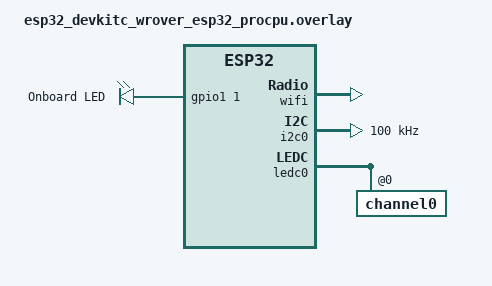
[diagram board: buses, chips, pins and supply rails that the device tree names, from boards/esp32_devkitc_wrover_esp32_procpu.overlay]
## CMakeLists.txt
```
cmake_minimum_required(VERSION 3.20.0)

find_package(Zephyr REQUIRED HINTS $ENV{ZEPHYR_BASE})
project(espcam)

target_sources(app PRIVATE
    src/main.c
    src/wifi_manager.c
    src/frame_source.c
    src/http_server.c
    src/http_api.c
    src/stream_handler.c
    src/camera_init.c
    src/camera_config.c
    src/camera_sccb.c
    src/cam_i2s_capture.c
    src/cam_i2s_hw.c
    src/cam_jpeg_fixup.c
    src/led_control.c
    src/ws_protocol.c
)
```

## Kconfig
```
# Application-specific Kconfig symbols

menu "ESP-CAM Application"

config APP_WIFI_SSID
	string "WiFi SSID"
	default ""
	help
	  WiFi network SSID to connect to.
	  Inject at build time via overlay conf or -DCONFIG_APP_WIFI_SSID="..."
	  Do NOT hardcode real credentials in prj.conf.

config APP_WIFI_PASSWORD
	string "WiFi Password"
	default ""
	help
	  WiFi network password.
	  Inject at build time via overlay conf or provision script.
	  Do NOT hardcode real credentials in prj.conf.

config APP_WIFI_CONNECT_TIMEOUT_S
	int "WiFi connection timeout in seconds"
	default 30
	help
	  Maximum time to wait for WiFi connection before retrying.

endmenu

source "Kconfig.zephyr"
```

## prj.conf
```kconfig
# Autopilot ESP32-CAM Zephyr — Project Configuration

# Core
CONFIG_GPIO=y
CONFIG_LOG=y
CONFIG_LOG_MODE_DEFERRED=y
CONFIG_LOG_BUFFER_SIZE=4096
CONFIG_PRINTK=y
CONFIG_MAIN_STACK_SIZE=8192

# PSRAM (8MB on ESP32-WROVER-E-N8R8)
CONFIG_ESP_SPIRAM=y
CONFIG_ESP_SPIRAM_HEAP_SIZE=3145728

# Heap (WiFi needs ~110KB; reduced from 128KB for DRAM headroom)
CONFIG_HEAP_MEM_POOL_SIZE=114688

# WiFi
CONFIG_WIFI=y
CONFIG_WIFI_ESP32=y
CONFIG_ESP32_WIFI_STA_AUTO_DHCPV4=y
CONFIG_ESP32_WIFI_STA_RECONNECT=y
CONFIG_ESP32_WIFI_NET_ALLOC_SPIRAM=y

# Networking
CONFIG_NETWORKING=y
CONFIG_NET_L2_ETHERNET=y
CONFIG_NET_IPV4=y
CONFIG_NET_IPV6=n
CONFIG_NET_DHCPV4=y
CONFIG_NET_LOG=y

# TCP / Sockets
CONFIG_NET_TCP=y
CONFIG_NET_SOCKETS=y
CONFIG_NET_MAX_CONN=8
CONFIG_NET_MAX_CONTEXTS=10
CONFIG_NET_TCP_TIME_WAIT_DELAY=0
CONFIG_NET_TCP_RETRY_COUNT=2
CONFIG_ZVFS_OPEN_MAX=16

# Network buffers
CONFIG_NET_PKT_RX_COUNT=16
CONFIG_NET_PKT_TX_COUNT=16
CONFIG_NET_BUF_RX_COUNT=32
CONFIG_NET_BUF_TX_COUNT=32
CONFIG_NET_BUF_DATA_SIZE=256

# ARP table — default 2 is too small for a busy LAN (20+ devices here)
CONFIG_NET_ARP_TABLE_SIZE=8

# Network management events
CONFIG_NET_MGMT_EVENT=y
CONFIG_NET_MGMT_EVENT_INFO=y
CONFIG_NET_MGMT_EVENT_QUEUE_SIZE=10
CONFIG_NET_MGMT_EVENT_STACK_SIZE=2048

# WiFi credentials — injected at build time via overlay conf
# Do NOT put real passwords here!
CONFIG_APP_WIFI_SSID=""
CONFIG_APP_WIFI_PASSWORD=""

# I2C (OV2640 SCCB)
CONFIG_I2C=y

# PWM (LEDC for OV2640 XCLK)
CONFIG_PWM=y

# WebSocket handshake support
# WebSocket support
CONFIG_BASE64=y

# Watchdog timer
CONFIG_WATCHDOG=y

# System heap runtime stats (for /api/status memory reporting)
CONFIG_SYS_HEAP_RUNTIME_STATS=y
```

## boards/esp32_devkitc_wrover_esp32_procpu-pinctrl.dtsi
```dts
/*
 * Pinctrl overlay for YD-ESP32-CAM (VCC-GND Studio)
 *
 * I2C0:  SDA=GPIO26, SCL=GPIO27  (OV2640 SCCB)
 * LEDC:  CH0=GPIO0               (OV2640 XCLK)
 */

#include <zephyr/dt-bindings/pinctrl/esp-pinctrl-common.h>
#include <dt-bindings/pinctrl/esp32-pinctrl.h>
#include <zephyr/dt-bindings/pinctrl/esp32-gpio-sigmap.h>

&pinctrl {

	i2c0_default: i2c0_default {
		group1 {
			pinmux = <I2C0_SDA_GPIO26>,
				 <I2C0_SCL_GPIO27>;
			bias-pull-up;
			drive-open-drain;
			output-high;
		};
	};

	ledc0_default: ledc0_default {
		group1 {
			pinmux = <LEDC_CH0_GPIO0>;
			output-enable;
		};
	};
};
```

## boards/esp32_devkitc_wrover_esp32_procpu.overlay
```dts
/*
 * DTS overlay for YD-ESP32-CAM (VCC-GND Studio)
 * Base board: esp32_devkitc_wrover
 * Module: ESP32-WROVER-E-N8R8 (8MB Flash, 8MB PSRAM)
 *
 * Peripherals:
 *   - Onboard LED on GPIO33
 *   - WiFi
 *   - I2C0 for OV2640 SCCB (SDA=GPIO26, SCL=GPIO27)
 *   - LEDC PWM for OV2640 XCLK (GPIO0, 20MHz)
 *   - Camera PWDN on GPIO32
 */

#include "esp32_devkitc_wrover_esp32_procpu-pinctrl.dtsi"

/ {
	leds {
		compatible = "gpio-leds";
		led0: led_0 {
			gpios = <&gpio1 1 GPIO_ACTIVE_HIGH>;
			label = "Onboard LED";
		};
	};

	aliases {
		led0 = &led0;
	};
};

&wifi {
	status = "okay";
};

/* I2C0 for OV2640 SCCB (SDA=GPIO26, SCL=GPIO27) */
&i2c0 {
	status = "okay";
	clock-frequency = <I2C_BITRATE_STANDARD>;
	pinctrl-0 = <&i2c0_default>;
	pinctrl-names = "default";
};

/* LEDC for OV2640 XCLK generation on GPIO0 */
&ledc0 {
	status = "okay";
	pinctrl-0 = <&ledc0_default>;
	pinctrl-names = "default";
	#address-cells = <1>;
	#size-cells = <0>;
	channel0@0 {
		reg = <0x0>;
		timer = <0>;
	};
};
```

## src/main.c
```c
/*
 * Autopilot ESP32-CAM — Main Application
 *
 * LED status indicator:
 *   Slow blink (1s)  = WiFi connecting
 *   Solid on         = WiFi connected
 *   Fast blink (200ms) = Error
 */

#include <zephyr/kernel.h>
#include <zephyr/logging/log.h>
#include <zephyr/drivers/watchdog.h>

#include "wifi_manager.h"
#include "frame_source.h"
#include "http_server.h"
#include "camera_init.h"
#include "cam_i2s_capture.h"
#include "led_control.h"

LOG_MODULE_REGISTER(main, LOG_LEVEL_INF);

#define HTTP_PORT 80
#define WDT_TIMEOUT_MS 30000
#define APP_VERSION "1.0.0"

int main(void)
{
	int ret;

	LOG_INF("Autopilot ESP32-CAM v%s starting...", APP_VERSION);
	LOG_INF("Board: YD-ESP32-CAM (ESP32-WROVER-E-N8R8)");

	ret = led_control_init();
	if (ret < 0) {
		return ret;
	}

	/* Slow blink while connecting */
	LOG_INF("Connecting to WiFi...");
	for (int i = 0; i < 3; i++) {
		led_control_set(true);
		k_msleep(500);
		led_control_set(false);
		k_msleep(500);
	}
	led_control_auto();

	ret = wifi_manager_init();
	if (ret == 0) {
		LOG_INF("WiFi ready — IP: %s", wifi_manager_get_ip());
		led_control_heartbeat(true);
	} else {
		LOG_WRN("WiFi init returned %d, running in degraded mode", ret);
	}

	/* Initialize OV2640 camera (XCLK, PWDN, SCCB probe, JPEG config) */
	ret = camera_init();
	if (ret < 0) {
		LOG_WRN("Camera init failed: %d — streaming test pattern", ret);
	} else {
		LOG_INF("Camera detected: OV2640 (JPEG QVGA)");

		/* Initialize I2S capture driver */
		ret = cam_i2s_init();
		if (ret < 0) {
			LOG_WRN("I2S capture init failed: %d", ret);
		}
	}

	/* Initialize frame source (uses camera if available, else test pattern) */
	ret = frame_source_init();
	if (ret < 0) {
		LOG_ERR("Frame source init failed: %d", ret);
	}

	/* Start HTTP server (binds to INADDR_ANY — works before WiFi is up,
	 * clients can connect once WiFi assigns an IP) */
	ret = http_server_start(HTTP_PORT);
	if (ret < 0) {
		LOG_ERR("HTTP server start failed: %d", ret);
	} else if (wifi_manager_is_connected()) {
		LOG_INF("HTTP server started on http://%s:%d/ (stream port %d)",
			wifi_manager_get_ip(), HTTP_PORT, HTTP_PORT + 1);
	} else {
		LOG_INF("HTTP server started on port %d (waiting for WiFi)",
			HTTP_PORT);
	}

	/* Start hardware watchdog AFTER all init completes */
	const struct device *wdt = DEVICE_DT_GET(DT_ALIAS(watchdog0));
	int wdt_channel_id = -1;

	if (device_is_ready(wdt)) {
		struct wdt_timeout_cfg wdt_config = {
			.window.max = WDT_TIMEOUT_MS,
			.callback = NULL,  /* System reset on timeout */
			.flags = WDT_FLAG_RESET_SOC,
		};

		wdt_channel_id = wdt_install_timeout(wdt, &wdt_config);
		if (wdt_channel_id >= 0) {
			ret = wdt_setup(wdt, WDT_OPT_PAUSE_HALTED_BY_DBG);
			if (ret == 0) {
				LOG_INF("Watchdog started (timeout %d ms)",
					WDT_TIMEOUT_MS);
			} else {
				LOG_WRN("Watchdog setup failed: %d", ret);
				wdt_channel_id = -1;
			}
		} else {
			LOG_WRN("Watchdog install failed: %d", wdt_channel_id);
		}
	} else {
		LOG_WRN("Watchdog device not ready");
	}

	/* Main loop: heartbeat + watchdog feed + status monitoring */
	uint32_t loop_cnt = 0;
	while (1) {
		led_control_heartbeat(wifi_manager_is_connected());

		if (wdt_channel_id >= 0) {
			wdt_feed(wdt, wdt_channel_id);
		}

		/* Periodic status log every ~30s */
		if (++loop_cnt % 6 == 0) {
			int rssi = 0;
			unsigned int channel = 0;
			uint32_t disconnects = 0, reconnects = 0;

			wifi_manager_get_link_info(&rssi, &channel);
			wifi_manager_get_stats(&disconnects, &reconnects);
			LOG_INF("Heartbeat: uptime=%us WiFi=%s rssi=%d ch=%u dc=%u rc=%u",
				(uint32_t)(k_uptime_get() / 1000),
				wifi_manager_is_connected() ? "up" : "DOWN",
				rssi, channel, disconnects, reconnects);
		}

		k_msleep(wifi_manager_is_connected() ? 5000 : 1000);
	}

	return 0;
}
```

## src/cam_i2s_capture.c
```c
/*
 * I2S Camera Capture — Implementation
 *
 * High-level capture API. Delegates hardware management to cam_i2s_hw.
 * Owns the warmup/DQT-extraction state machine and JPEG fixup integration.
 */

#include "cam_i2s_capture.h"
#include "cam_i2s_hw.h"
#include "cam_jpeg_fixup.h"

#include <zephyr/kernel.h>
#include <zephyr/logging/log.h>

LOG_MODULE_REGISTER(cam_i2s, LOG_LEVEL_INF);

#define WARMUP_FRAMES      10
#define STREAM_SKIP_FRAMES 0
#define CAPTURE_TIMEOUT_MS 5000

static bool warmed_up;

/* One-time DQT extraction: run DMA briefly to capture JPEG header tables */
static void extract_dqt_tables(void)
{
	LOG_INF("Extracting DQT tables (pre-capture)...");
	cam_i2s_hw_prepare(999);  /* Don't trigger frame logic */
	cam_i2s_hw_extract_start();
	cam_i2s_hw_dma_start();
	k_msleep(200);  /* ~3 frames at 15fps */
	cam_i2s_hw_stop();

	const uint8_t *buf;
	size_t len;

	cam_i2s_hw_get_frame(&buf, &len);
	if (len > 0) {
		jpeg_extract_and_save_header(buf, len);
	}
}

int cam_i2s_init(void)
{
	LOG_INF("I2S camera capture init");
	return cam_i2s_hw_init();
}

int cam_i2s_capture_frame(const uint8_t **buf, size_t *size)
{
	/* One-time DQT header extraction */
	if (!warmed_up && jpeg_saved_header_len() == 0) {
		extract_dqt_tables();
	}

	int skip = warmed_up ? STREAM_SKIP_FRAMES : WARMUP_FRAMES;

	cam_i2s_hw_prepare(skip);

	if (!warmed_up) {
		LOG_INF("Capturing frame (skipping %d warm-up frames)...",
			skip);
	}

	/* Prime I2S RX for warmup (extract_active=false by default) */
	cam_i2s_hw_dma_start();

	int64_t deadline = k_uptime_get() + CAPTURE_TIMEOUT_MS;

	/* Phase 1: Wait for VSYNC blanking after warmup skips */
	while (!cam_i2s_hw_vsync_blanking() && k_uptime_get() < deadline) {
		k_yield();
	}

	if (!cam_i2s_hw_vsync_blanking()) {
		LOG_WRN("Timeout waiting for VSYNC blanking");
		cam_i2s_hw_stop();
		return -ETIMEDOUT;
	}

	/* Phase 2: Reset DMA during blanking, enable byte extraction */
	cam_i2s_hw_dma_start();
	cam_i2s_hw_extract_start();

	/* Phase 3: Wait for complete frame (next VSYNC rising edge) */
	while (!cam_i2s_hw_frame_done() && k_uptime_get() < deadline) {
		k_yield();
	}

	/* Let ISR drain remaining descriptors */
	k_busy_wait(500);
	cam_i2s_hw_stop();

	/* First-capture diagnostics */
	if (!warmed_up) {
		cam_i2s_hw_log_diagnostics();
	}

	const uint8_t *frame;
	size_t frame_len;

	cam_i2s_hw_get_frame(&frame, &frame_len);
	if (frame_len == 0) {
		LOG_WRN("Frame captured but empty");
		return -ENODATA;
	}

	warmed_up = true;

	return jpeg_fixup_frame((uint8_t *)frame, frame_len,
				cam_i2s_hw_frame_buf_size(), buf, size);
}

void cam_i2s_reset_warmup(void)
{
	cam_i2s_hw_stop();
	warmed_up = false;
	jpeg_reset_header();
	LOG_INF("I2S warmup state reset");
}
```

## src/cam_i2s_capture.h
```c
/*
 * I2S Camera Capture — Header
 *
 * Captures JPEG frames from OV2640 via ESP32 I2S0 in camera mode.
 * Uses SRAM DMA bounce buffers + copy to PSRAM.
 */

#ifndef CAM_I2S_CAPTURE_H
#define CAM_I2S_CAPTURE_H

#include <stdint.h>
#include <stddef.h>

/**
 * Initialize I2S0 in camera mode for DVP capture.
 * Must be called after camera_init() has configured the OV2640.
 * @return 0 on success, negative errno on failure.
 */
int cam_i2s_init(void);

/**
 * Capture a single JPEG frame.
 * Blocks until one complete VSYNC-delimited frame is received.
 * @param buf     Output: pointer to frame data (PSRAM, valid until next capture)
 * @param size    Output: frame size in bytes
 * @return 0 on success, negative errno on failure or timeout.
 */
int cam_i2s_capture_frame(const uint8_t **buf, size_t *size);

/**
 * Reset warmup state (call after resolution/quality change).
 * Forces re-extraction of JPEG header on next capture.
 */
void cam_i2s_reset_warmup(void);

#endif /* CAM_I2S_CAPTURE_H */
```

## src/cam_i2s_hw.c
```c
/*
 * I2S Camera Hardware — Implementation
 *
 * Low-level I2S/DMA hardware management for OV2640 DVP capture.
 * Owns all DMA buffers, ISR handlers, and volatile capture state.
 *
 * Architecture:
 * - I2S0 in LCD/camera slave RX mode
 * - Camera signals (D0-D7, VSYNC, HREF, PCLK) routed via GPIO matrix
 * - DMA ring of SRAM bounce buffers (ESP32 cannot DMA to PSRAM)
 * - VSYNC GPIO interrupt for frame boundary detection
 * - DMA in_suc_eof interrupt to copy data incrementally to frame buffer
 * - Byte filtering: each 32-bit DMA word yields 1 JPEG byte (sample1, bits 23:16)
 *
 * Camera pin mapping (YD-ESP32-CAM / AI-Thinker compatible):
 *   D0=GPIO5, D1=GPIO18, D2=GPIO19, D3=GPIO21,
 *   D4=GPIO36, D5=GPIO39, D6=GPIO34, D7=GPIO35
 *   VSYNC=GPIO25, HREF=GPIO23, PCLK=GPIO22
 */

#include "cam_i2s_hw.h"

#include <zephyr/kernel.h>
#include <zephyr/logging/log.h>
#include <zephyr/drivers/gpio.h>
#include <string.h>

#include <soc/i2s_struct.h>
#include <soc/i2s_reg.h>
#include <soc/gpio_sig_map.h>
#include <soc/gpio_pins.h>
#include <soc/periph_defs.h>
#include <soc/soc.h>
#include <esp_rom_gpio.h>
#include <esp_rom_lldesc.h>
#include <hal/gpio_ll.h>
#include <esp_private/periph_ctrl.h>
#include <esp_intr_alloc.h>

LOG_MODULE_REGISTER(cam_i2s_hw, LOG_LEVEL_INF);

/* Camera data pins (YD-ESP32-CAM) */
static const uint8_t cam_data_pins[8] = {
	5, 18, 19, 21, 36, 39, 34, 35  /* D0..D7 */
};
#define CAM_VSYNC_PIN  25
#define CAM_HREF_PIN   23
#define CAM_PCLK_PIN   22

/* DMA configuration */
#define DMA_BUF_SIZE     1024  /* Must be multiple of 4 */
#define DMA_BUF_COUNT    4
#define DMA_TOTAL_SIZE   (DMA_BUF_SIZE * DMA_BUF_COUNT)

/* Max JPEG frame size after byte extraction (UXGA can reach 200KB+) */
#define FRAME_BUF_SIZE   (384 * 1024)

#define I2S_HW  I2S0

/*
 * DMA element: In camera mode with rx_fifo_mod=1, rx_bits_mod=8,
 * each camera byte is packed into a 32-bit word in SM_0A00_0B00 mode.
 * For JPEG: extract only sample1 (bits 23:16, byte offset 2).
 */
typedef union {
	struct {
		uint8_t sample2;
		uint8_t unused2;
		uint8_t sample1;
		uint8_t unused1;
	};
	uint32_t val;
} dma_elem_t;

/* Static SRAM buffers for DMA (cannot be in PSRAM on ESP32) */
static lldesc_t dma_desc[DMA_BUF_COUNT] __attribute__((aligned(4)));
static uint8_t dma_buf[DMA_BUF_COUNT][DMA_BUF_SIZE]
	__attribute__((aligned(4)));

/* Frame buffer in PSRAM (ext_ram.bss linker section → SPIRAM) */
static uint8_t frame_buf_psram[FRAME_BUF_SIZE]
	__attribute__((section(".ext_ram.bss")));
static uint8_t *frame_buf = frame_buf_psram;
static volatile size_t frame_pos;
static volatile bool frame_done;
static volatile bool vsync_blanking;
static volatile bool capturing;
static volatile int vsync_skip_remaining;
static struct k_sem frame_sem;
static intr_handle_t i2s_intr_handle;

/* Debug counters */
static volatile uint32_t dbg_vsync_count;
static volatile uint32_t dbg_dma_isr_count;
static volatile uint32_t dbg_dma_bytes_total;
static volatile uint32_t dbg_dma_overflow;

/* ISR-driven DMA recycling state */
static volatile int isr_next_desc;
static volatile bool extract_active;

/* Raw DMA debug: first 8 words from capture phase */
static uint32_t raw_debug[8];
static volatile int raw_debug_count;

/* VSYNC GPIO interrupt callback */
static struct gpio_callback vsync_cb_data;

/* ---- ISR handlers ---- */

static void vsync_isr(const struct device *dev, struct gpio_callback *cb,
		      uint32_t pins)
{
	dbg_vsync_count++;

	if (!capturing) {
		return;
	}

	if (vsync_skip_remaining > 0) {
		vsync_skip_remaining--;
		return;
	}

	if (!vsync_blanking) {
		vsync_blanking = true;
		return;
	}

	/* Second rising edge: active frame captured */
	frame_done = true;
}

static void cam_i2s_isr(void *arg)
{
	uint32_t status = I2S_HW.int_st.val;

	I2S_HW.int_clr.val = status;

	if (status & BIT(9)) {
		dbg_dma_isr_count++;
		int idx = isr_next_desc;

		if (dma_desc[idx].owner == 0 && dma_desc[idx].length > 0) {
			if (extract_active && !frame_done &&
			    frame_pos < FRAME_BUF_SIZE) {
				const uint32_t *src =
					(const uint32_t *)dma_desc[idx].buf;
				size_t words = dma_desc[idx].length / 4;

				if (raw_debug_count == 0) {
					int n = words > 8 ? 8 : words;

					for (int d = 0; d < n; d++) {
						raw_debug[d] = src[d];
					}
					raw_debug_count = n;
				}

				for (size_t j = 0;
				     j < words && frame_pos < FRAME_BUF_SIZE;
				     j++) {
					frame_buf[frame_pos++] =
						(src[j] >> 16) & 0xFF;
				}
			}
			dbg_dma_bytes_total += dma_desc[idx].length;

			dma_desc[idx].length = 0;
			dma_desc[idx].owner = 1;
			isr_next_desc = (idx + 1) % DMA_BUF_COUNT;
		}
	}

	if (status & BIT(15)) {
		dbg_dma_overflow++;
	}
}

/* ---- Hardware configuration ---- */

static void configure_gpio(void)
{
	for (int i = 0; i < 8; i++) {
		esp_rom_gpio_pad_select_gpio(cam_data_pins[i]);
		gpio_ll_input_enable(&GPIO, cam_data_pins[i]);
		esp_rom_gpio_connect_in_signal(cam_data_pins[i],
					       I2S0I_DATA_IN0_IDX + i, false);
	}

	esp_rom_gpio_pad_select_gpio(CAM_VSYNC_PIN);
	gpio_ll_input_enable(&GPIO, CAM_VSYNC_PIN);
	esp_rom_gpio_connect_in_signal(CAM_VSYNC_PIN, I2S0I_V_SYNC_IDX,
				       false);

	esp_rom_gpio_connect_in_signal(GPIO_MATRIX_CONST_ONE_INPUT,
				       I2S0I_H_SYNC_IDX, false);

	esp_rom_gpio_pad_select_gpio(CAM_HREF_PIN);
	gpio_ll_input_enable(&GPIO, CAM_HREF_PIN);
	esp_rom_gpio_connect_in_signal(CAM_HREF_PIN, I2S0I_H_ENABLE_IDX,
				       false);

	esp_rom_gpio_pad_select_gpio(CAM_PCLK_PIN);
	gpio_ll_input_enable(&GPIO, CAM_PCLK_PIN);
	esp_rom_gpio_connect_in_signal(CAM_PCLK_PIN, I2S0I_WS_IN_IDX, false);

	LOG_INF("Camera GPIO matrix configured");
}

static void setup_dma(void)
{
	for (int i = 0; i < DMA_BUF_COUNT; i++) {
		dma_desc[i].size = DMA_BUF_SIZE;
		dma_desc[i].length = 0;
		dma_desc[i].buf = dma_buf[i];
		dma_desc[i].owner = 1;
		dma_desc[i].eof = 0;
		dma_desc[i].sosf = 0;
		dma_desc[i].offset = 0;
		dma_desc[i].empty =
			(uint32_t)&dma_desc[(i + 1) % DMA_BUF_COUNT];
	}
}

static void configure_peripheral(void)
{
	periph_module_enable(PERIPH_I2S0_MODULE);

	I2S_HW.conf.val = 0;
	I2S_HW.conf.rx_reset = 1;
	I2S_HW.conf.rx_reset = 0;
	I2S_HW.conf.rx_fifo_reset = 1;
	I2S_HW.conf.rx_fifo_reset = 0;

	I2S_HW.lc_conf.val = 0;
	I2S_HW.lc_conf.in_rst = 1;
	I2S_HW.lc_conf.in_rst = 0;
	I2S_HW.lc_conf.ahbm_fifo_rst = 1;
	I2S_HW.lc_conf.ahbm_fifo_rst = 0;
	I2S_HW.lc_conf.ahbm_rst = 1;
	I2S_HW.lc_conf.ahbm_rst = 0;

	I2S_HW.fifo_conf.val = 0;
	I2S_HW.fifo_conf.rx_data_num = 32;
	I2S_HW.fifo_conf.dscr_en = 1;
	I2S_HW.fifo_conf.rx_fifo_mod = 3;
	I2S_HW.fifo_conf.rx_fifo_mod_force_en = 1;

	I2S_HW.conf_chan.val = 0;
	I2S_HW.conf_chan.rx_chan_mod = 1;

	I2S_HW.conf2.val = 0;
	I2S_HW.conf2.lcd_en = 1;
	I2S_HW.conf2.camera_en = 1;

	I2S_HW.conf.rx_slave_mod = 1;
	I2S_HW.conf.rx_right_first = 0;
	I2S_HW.conf.rx_msb_right = 0;
	I2S_HW.conf.rx_msb_shift = 0;
	I2S_HW.conf.rx_mono = 0;
	I2S_HW.conf.rx_short_sync = 0;

	I2S_HW.sample_rate_conf.val = 0;
	I2S_HW.sample_rate_conf.rx_bck_div_num = 1;
	I2S_HW.sample_rate_conf.rx_bits_mod = 0;

	I2S_HW.clkm_conf.val = 0;
	I2S_HW.clkm_conf.clkm_div_num = 2;
	I2S_HW.clkm_conf.clkm_div_a = 0;
	I2S_HW.clkm_conf.clkm_div_b = 0;
	I2S_HW.clkm_conf.clk_en = 1;

	I2S_HW.lc_conf.check_owner = 0;
	I2S_HW.lc_conf.indscr_burst_en = 1;

	I2S_HW.rx_eof_num = DMA_BUF_SIZE / 4;

	I2S_HW.timing.val = 0;
	I2S_HW.timing.rx_dsync_sw = 1;

	I2S_HW.in_link.addr = ((uint32_t)&dma_desc[0]) & 0xFFFFF;

	I2S_HW.int_clr.val = 0xFFFFFFFF;
	I2S_HW.int_ena.val = 0;
	I2S_HW.int_ena.in_suc_eof = 1;
	I2S_HW.int_ena.in_dscr_err = 1;
	I2S_HW.int_ena.in_dscr_empty = 1;

	LOG_INF("I2S0 configured for camera mode");
}

static int vsync_gpio_init(void)
{
	const struct device *gpio0 = DEVICE_DT_GET(DT_NODELABEL(gpio0));

	if (!device_is_ready(gpio0)) {
		LOG_ERR("GPIO0 device not ready for VSYNC");
		return -ENODEV;
	}

	int ret = gpio_pin_configure(gpio0, CAM_VSYNC_PIN, GPIO_INPUT);

	if (ret < 0) {
		LOG_ERR("VSYNC pin configure failed: %d", ret);
		return ret;
	}

	ret = gpio_pin_interrupt_configure(gpio0, CAM_VSYNC_PIN,
					   GPIO_INT_EDGE_RISING);
	if (ret < 0) {
		LOG_ERR("VSYNC interrupt configure failed: %d", ret);
		return ret;
	}

	gpio_init_callback(&vsync_cb_data, vsync_isr, BIT(CAM_VSYNC_PIN));
	gpio_add_callback(gpio0, &vsync_cb_data);

	LOG_INF("VSYNC interrupt on GPIO%d (rising edge)", CAM_VSYNC_PIN);
	return 0;
}

/* ---- Public phase-level API ---- */

int cam_i2s_hw_init(void)
{
	LOG_INF("I2S camera hardware init");

	k_sem_init(&frame_sem, 0, 1);
	LOG_INF("Frame buffer: %d bytes at %p (PSRAM)",
		FRAME_BUF_SIZE, frame_buf);

	setup_dma();
	configure_gpio();

	int ret = vsync_gpio_init();

	if (ret < 0) {
		return ret;
	}

	configure_peripheral();

	esp_err_t err = esp_intr_alloc(ETS_I2S0_INTR_SOURCE,
				       ESP_INTR_FLAG_LOWMED,
				       cam_i2s_isr, NULL,
				       &i2s_intr_handle);
	if (err != ESP_OK) {
		LOG_ERR("esp_intr_alloc failed: %d", err);
		return -EIO;
	}

	LOG_INF("I2S camera hardware ready");
	return 0;
}

void cam_i2s_hw_prepare(int skip_frames)
{
	frame_pos = 0;
	frame_done = false;
	vsync_blanking = false;
	vsync_skip_remaining = skip_frames;
	extract_active = false;
	isr_next_desc = 0;
	capturing = true;
	dbg_vsync_count = 0;
	dbg_dma_isr_count = 0;
	dbg_dma_bytes_total = 0;
	dbg_dma_overflow = 0;
	raw_debug_count = 0;
}

void cam_i2s_hw_dma_start(void)
{
	I2S_HW.conf.rx_start = 0;

	I2S_HW.conf.rx_reset = 1;
	I2S_HW.conf.rx_reset = 0;
	I2S_HW.conf.rx_fifo_reset = 1;
	I2S_HW.conf.rx_fifo_reset = 0;

	I2S_HW.lc_conf.in_rst = 1;
	I2S_HW.lc_conf.in_rst = 0;
	I2S_HW.lc_conf.ahbm_fifo_rst = 1;
	I2S_HW.lc_conf.ahbm_fifo_rst = 0;
	I2S_HW.lc_conf.ahbm_rst = 1;
	I2S_HW.lc_conf.ahbm_rst = 0;

	I2S_HW.lc_conf.check_owner = 0;
	I2S_HW.lc_conf.indscr_burst_en = 1;

	for (int i = 0; i < DMA_BUF_COUNT; i++) {
		dma_desc[i].length = 0;
		dma_desc[i].owner = 1;
	}
	isr_next_desc = 0;

	I2S_HW.rx_eof_num = DMA_BUF_SIZE / 4;
	I2S_HW.in_link.addr = ((uint32_t)&dma_desc[0]) & 0xFFFFF;
	I2S_HW.in_link.start = 1;
	I2S_HW.int_clr.val = 0xFFFFFFFF;
	I2S_HW.conf.rx_start = 1;
}

void cam_i2s_hw_extract_start(void)
{
	extract_active = true;
}

void cam_i2s_hw_extract_stop(void)
{
	extract_active = false;
}

void cam_i2s_hw_stop(void)
{
	I2S_HW.conf.rx_start = 0;
	I2S_HW.in_link.stop = 1;
	extract_active = false;
	capturing = false;
}

bool cam_i2s_hw_vsync_blanking(void)
{
	return vsync_blanking;
}

bool cam_i2s_hw_frame_done(void)
{
	return frame_done;
}

void cam_i2s_hw_get_frame(const uint8_t **buf, size_t *size)
{
	*buf = frame_buf;
	*size = frame_pos;
}

size_t cam_i2s_hw_frame_buf_size(void)
{
	return FRAME_BUF_SIZE;
}

void cam_i2s_hw_log_diagnostics(void)
{
	LOG_INF("Diag: vsync=%u dma_isr=%u frame_pos=%zu "
		"dma_bytes=%u overflow=%u",
		dbg_vsync_count, dbg_dma_isr_count, frame_pos,
		dbg_dma_bytes_total, dbg_dma_overflow);

	if (raw_debug_count >= 8) {
		LOG_INF("RawDMA[0..3]: %08x %08x %08x %08x",
			raw_debug[0], raw_debug[1],
			raw_debug[2], raw_debug[3]);
		LOG_INF("RawDMA[4..7]: %08x %08x %08x %08x",
			raw_debug[4], raw_debug[5],
			raw_debug[6], raw_debug[7]);
	}

	if (frame_pos == 0) {
		return;
	}

	/* Hex dump first 64 bytes */
	size_t dump_len = frame_pos < 64 ? frame_pos : 64;
	char hex[193];
	size_t pos = 0;

	for (size_t i = 0; i < dump_len && pos < sizeof(hex) - 3; i++) {
		static const char h[] = "0123456789abcdef";

		hex[pos++] = h[frame_buf[i] >> 4];
		hex[pos++] = h[frame_buf[i] & 0xF];
		hex[pos++] = ' ';
	}
	hex[pos] = '\0';
	LOG_INF("First[0..%d]: %s", (int)dump_len - 1, hex);

	/* Hex dump last 32 bytes */
	if (frame_pos > 64) {
		size_t start = frame_pos > 32 ? frame_pos - 32 : 0;

		pos = 0;
		for (size_t i = start;
		     i < frame_pos && pos < sizeof(hex) - 3; i++) {
			static const char h[] = "0123456789abcdef";

			hex[pos++] = h[frame_buf[i] >> 4];
			hex[pos++] = h[frame_buf[i] & 0xF];
			hex[pos++] = ' ';
		}
		hex[pos] = '\0';
		LOG_INF("Last[%zu..%zu]: %s", start, frame_pos - 1, hex);
	}

	/* Scan for JPEG markers */
	int marker_count = 0;

	for (size_t i = 0; i + 1 < frame_pos && marker_count < 20; i++) {
		if (frame_buf[i] == 0xFF &&
		    frame_buf[i + 1] != 0x00 &&
		    frame_buf[i + 1] != 0xFF) {
			LOG_INF("Marker FF %02x at offset %zu",
				frame_buf[i + 1], i);
			marker_count++;
		}
	}

	/* Count non-zero bytes */
	size_t non_zero = 0;

	for (size_t i = 0; i < frame_pos; i++) {
		if (frame_buf[i] != 0) {
			non_zero++;
		}
	}
	LOG_INF("Non-zero bytes: %zu / %zu", non_zero, frame_pos);
}
```

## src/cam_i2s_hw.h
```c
/*
 * I2S Camera Hardware — Internal Header
 *
 * Low-level I2S/DMA hardware management for OV2640 DVP capture.
 * All DMA/ISR state is owned internally; callers use phase-level APIs.
 */

#ifndef CAM_I2S_HW_H
#define CAM_I2S_HW_H

#include <stdint.h>
#include <stddef.h>
#include <stdbool.h>

/**
 * One-time hardware setup: GPIO matrix, DMA ring, I2S peripheral,
 * VSYNC interrupt, and I2S interrupt allocation.
 * @return 0 on success, negative errno on failure.
 */
int cam_i2s_hw_init(void);

/**
 * Prepare for a new capture cycle: reset frame buffer position,
 * clear frame_done/vsync_blanking flags, set skip count.
 * Does NOT start DMA — call cam_i2s_hw_dma_start() next.
 */
void cam_i2s_hw_prepare(int skip_frames);

/**
 * Full DMA reset + start sequence. Resets I2S RX, DMA, descriptors,
 * then starts DMA and I2S RX.
 */
void cam_i2s_hw_dma_start(void);

/** Enable ISR byte extraction into frame buffer. */
void cam_i2s_hw_extract_start(void);

/** Disable ISR byte extraction. */
void cam_i2s_hw_extract_stop(void);

/** Stop I2S RX and DMA inlink. Clears capturing flag. */
void cam_i2s_hw_stop(void);

/** Returns true when VSYNC ISR has detected blanking period. */
bool cam_i2s_hw_vsync_blanking(void);

/** Returns true when a complete frame has been captured. */
bool cam_i2s_hw_frame_done(void);

/**
 * Get the captured frame data.
 * @param buf   Output: pointer to frame buffer (PSRAM)
 * @param size  Output: number of bytes captured so far
 */
void cam_i2s_hw_get_frame(const uint8_t **buf, size_t *size);

/** Max frame buffer size (for bounds checking). */
size_t cam_i2s_hw_frame_buf_size(void);

/**
 * Log verbose first-capture diagnostics (hex dumps, markers, etc.).
 * Only meaningful on the first frame; caller decides when to call.
 */
void cam_i2s_hw_log_diagnostics(void);

#endif /* CAM_I2S_HW_H */
```

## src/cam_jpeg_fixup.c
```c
/*
 * JPEG Frame Fixup — Implementation
 *
 * Reconstructs valid JPEG images from raw I2S DMA capture data.
 *
 * The OV2640 camera outputs a standard JPEG stream, but the I2S DMA
 * capture may miss the first bytes (SOI + header tables) due to the
 * timing gap between VSYNC and DMA restart.  This module:
 *
 * 1. Extracts and caches the JPEG header (DQT, DHT, SOF0, SOS) from
 *    a warmup capture pass.
 * 2. On each frame, locates the first valid JPEG marker, injects the
 *    saved header if the SOI/tables were lost, and ensures proper
 *    SOI/EOI framing.
 */

#include "cam_jpeg_fixup.h"

#include <errno.h>
#include <string.h>

#include <zephyr/logging/log.h>

LOG_MODULE_REGISTER(jpeg_fixup, LOG_LEVEL_INF);

/*
 * Saved canonical JPEG header — extracted once during warmup.
 *
 * Layout: FF D8 | DQT×2 | DHT×4 | SOF0 | SOS ≈ ~555 bytes
 * The header ends at the last byte of the SOS marker (before scan data).
 */
static uint8_t saved_jpeg_header[MAX_JPEG_HEADER];
static size_t saved_header_len;

size_t jpeg_saved_header_len(void)
{
	return saved_header_len;
}

void jpeg_reset_header(void)
{
	saved_header_len = 0;
	LOG_INF("JPEG header cache cleared");
}

/*
 * Extract the full JPEG header from continuous capture data.
 * Scans for DQT marker (start of header) then walks markers through
 * SOF0 and SOS to find the complete header.  Builds saved_jpeg_header
 * as [FF D8 | DQT×2 | DHT×4 | SOF0 | SOS].
 *
 * In scan data, FF is always byte-stuffed (FF 00), so FF DB/C4/C0/DA
 * markers cannot appear as false positives.
 */
void jpeg_extract_and_save_header(const uint8_t *data, size_t len)
{
	size_t hdr_start = 0;
	bool found_start = false;

	for (size_t i = 0; i + 4 < len; i++) {
		if (data[i] == 0xFF && data[i + 1] == 0xDB) {
			hdr_start = i;
			found_start = true;
			break;
		}
	}
	if (!found_start) {
		LOG_WRN("No DQT marker found in warmup data (%zu bytes)", len);
		return;
	}

	/* Walk markers from DQT through SOS to find header end.
	 * Each marker has: FF xx LL HH (length includes LL HH but not FF xx).
	 * SOS is the last header marker; scan data follows immediately.
	 */
	size_t pos = hdr_start;
	size_t hdr_end = 0;
	bool found_sos = false;

	while (pos + 3 < len) {
		if (data[pos] != 0xFF) {
			break;
		}
		uint8_t marker = data[pos + 1];
		uint16_t seg_len = (data[pos + 2] << 8) | data[pos + 3];

		if (marker == 0xDA) {
			hdr_end = pos + 2 + seg_len;
			found_sos = true;
			break;
		}

		pos += 2 + seg_len;
	}

	if (!found_sos) {
		LOG_WRN("SOS marker not found walking from DQT "
			"(start=%zu, pos=%zu)", hdr_start, pos);
		return;
	}

	size_t region_len = hdr_end - hdr_start;

	if (2 + region_len > MAX_JPEG_HEADER) {
		LOG_WRN("JPEG header too large: %zu bytes", 2 + region_len);
		return;
	}

	saved_jpeg_header[0] = 0xFF;
	saved_jpeg_header[1] = 0xD8;
	memcpy(&saved_jpeg_header[2], &data[hdr_start], region_len);
	saved_header_len = 2 + region_len;

	LOG_INF("Saved JPEG header: %zu bytes (DQT..SOS from %zu byte capture)",
		saved_header_len, len);
}

/*
 * Locate the start of JPEG data in the raw buffer, inject missing
 * header bytes, trim trailing garbage, and ensure SOI/EOI framing.
 */
int jpeg_fixup_frame(uint8_t *frame_buf, size_t frame_pos,
		     size_t frame_buf_size,
		     const uint8_t **out_ptr, size_t *out_len)
{
	const uint8_t *jpeg_ptr = NULL;
	size_t jpeg_len = 0;

	if (frame_pos >= 2 && frame_buf[0] == 0xFF &&
	    frame_buf[1] == 0xD8) {
		jpeg_ptr = frame_buf;
		jpeg_len = frame_pos;
	} else {
		/* SOI missing — scan for first valid JPEG marker */
		size_t jpeg_start = 0;
		bool found = false;

		for (size_t i = 0; i < frame_pos - 1 && i < 512; i++) {
			if (frame_buf[i] == 0xFF) {
				uint8_t m = frame_buf[i + 1];

				if (m >= 0xC0 && m <= 0xFE && m != 0xFF) {
					jpeg_start = i;
					found = true;
					LOG_INF("First marker FF %02X at "
						"offset %zu", m, i);
					break;
				}
			}
		}

		if (!found) {
			return -EINVAL;
		}

		uint8_t first_marker = frame_buf[jpeg_start + 1];

		if (first_marker != 0xD8 && saved_header_len > 0) {
			/* Part of the JPEG header was lost.  Find where
			 * the captured data resumes in the saved canonical
			 * header.  Match 4+ bytes to distinguish between
			 * multiple instances of the same marker type. */
			size_t inject_len = saved_header_len;
			size_t match_len = frame_pos - jpeg_start;

			if (match_len > 6) {
				match_len = 6;
			}
			for (size_t i = 2; i + match_len <= saved_header_len;
			     i++) {
				if (memcmp(&saved_jpeg_header[i],
					   &frame_buf[jpeg_start],
					   match_len) == 0) {
					inject_len = i;
					break;
				}
			}

			size_t payload_len = frame_pos - jpeg_start;

			if (jpeg_start >= inject_len) {
				memcpy(frame_buf + jpeg_start - inject_len,
				       saved_jpeg_header, inject_len);
				jpeg_ptr = frame_buf + jpeg_start - inject_len;
				jpeg_len = inject_len + payload_len;
			} else {
				memmove(frame_buf + inject_len,
					frame_buf + jpeg_start, payload_len);
				memcpy(frame_buf, saved_jpeg_header,
				       inject_len);
				jpeg_ptr = frame_buf;
				jpeg_len = inject_len + payload_len;
			}
			LOG_INF("JPEG header injected (%zu + %zu bytes, "
				"first marker FF %02X)",
				inject_len, payload_len, first_marker);
		} else if (first_marker == 0xD8) {
			jpeg_ptr = frame_buf + jpeg_start;
			jpeg_len = frame_pos - jpeg_start;
			LOG_INF("SOI found at offset %zu", jpeg_start);
		} else {
			/* No saved header — just prepend SOI */
			if (jpeg_start >= 2) {
				frame_buf[jpeg_start - 2] = 0xFF;
				frame_buf[jpeg_start - 1] = 0xD8;
				jpeg_ptr = frame_buf + jpeg_start - 2;
				jpeg_len = frame_pos - jpeg_start + 2;
			} else {
				memmove(frame_buf + 2,
					frame_buf + jpeg_start,
					frame_pos - jpeg_start);
				frame_buf[0] = 0xFF;
				frame_buf[1] = 0xD8;
				jpeg_ptr = frame_buf;
				jpeg_len = frame_pos - jpeg_start + 2;
			}
			LOG_INF("SOI prepended (no saved header, marker "
				"FF %02X at offset %zu)",
				first_marker, jpeg_start);
		}
	}

	/* Scan backward for EOI (FF D9) and trim trailing garbage */
	bool has_eoi = false;

	for (size_t i = jpeg_len; i >= 2; i--) {
		if (jpeg_ptr[i - 2] == 0xFF && jpeg_ptr[i - 1] == 0xD9) {
			jpeg_len = i;
			has_eoi = true;
			break;
		}
	}

	if (!has_eoi) {
		uint8_t *end = (uint8_t *)jpeg_ptr + jpeg_len;

		if (end + 2 <= frame_buf + frame_buf_size) {
			end[0] = 0xFF;
			end[1] = 0xD9;
			jpeg_len += 2;
			LOG_INF("EOI appended");
		}
	}

	LOG_INF("JPEG frame: %zu bytes (EOI=%s)", jpeg_len,
		has_eoi ? "found" : "appended");

	*out_ptr = jpeg_ptr;
	*out_len = jpeg_len;
	return 0;
}
```

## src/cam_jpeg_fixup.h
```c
/*
 * JPEG Frame Fixup — Header
 *
 * Reconstructs a valid JPEG from raw I2S DMA data.
 * Handles missing SOI, header injection from saved DQT tables,
 * EOI detection/append, and trailing garbage trimming.
 */

#ifndef CAM_JPEG_FIXUP_H
#define CAM_JPEG_FIXUP_H

#include <stddef.h>
#include <stdint.h>

#define MAX_JPEG_HEADER 700

/**
 * Extract JPEG DQT/DHT/SOF0 tables from raw DMA data and save them
 * for future header injection.
 *
 * @param data  Raw DMA capture buffer
 * @param len   Number of bytes captured
 */
void jpeg_extract_and_save_header(const uint8_t *data, size_t len);

/** Returns the saved header length (0 if not yet extracted). */
size_t jpeg_saved_header_len(void);

/** Clear the saved JPEG header cache (call after resolution change). */
void jpeg_reset_header(void);

/**
 * Fix up a raw frame buffer into a valid JPEG image.
 *
 * Locates SOI, injects saved header if needed, trims trailing
 * garbage, and ensures EOI is present.
 *
 * @param frame_buf       Mutable frame buffer (may be shifted in-place)
 * @param frame_pos       Number of raw bytes in frame_buf
 * @param frame_buf_size  Total capacity of frame_buf
 * @param out_ptr         [out] Pointer to start of valid JPEG data
 * @param out_len         [out] Length of valid JPEG data
 * @return 0 on success, -EINVAL if no JPEG marker found
 */
int jpeg_fixup_frame(uint8_t *frame_buf, size_t frame_pos,
		     size_t frame_buf_size,
		     const uint8_t **out_ptr, size_t *out_len);

#endif /* CAM_JPEG_FIXUP_H */
```

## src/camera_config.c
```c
/*
 * Camera Config — Implementation
 *
 * OV2640 JPEG configuration and runtime resolution switching.
 */

#include "camera_init.h"
#include "camera_sccb.h"
#include "ov2640_regs.h"

#include <zephyr/kernel.h>
#include <zephyr/logging/log.h>

LOG_MODULE_REGISTER(cam_cfg, LOG_LEVEL_INF);

static enum camera_resolution current_res = CAM_RES_QVGA;

struct res_info {
	const char *name;
	int width;
	int height;
	const struct ov2640_reg *regs;
	uint8_t qs;
};

static const struct res_info res_table[CAM_RES_COUNT] = {
	[CAM_RES_QVGA] = { "QVGA", 320,  240,  ov2640_qvga_regs, 0x04 },
	[CAM_RES_VGA]  = { "VGA",  640,  480,  ov2640_vga_regs,  0x06 },
	[CAM_RES_SVGA] = { "SVGA", 800,  600,  ov2640_svga_regs, 0x08 },
	[CAM_RES_XGA]  = { "XGA",  1024, 768,  ov2640_xga_regs,  0x0A },
	[CAM_RES_SXGA] = { "SXGA", 1280, 1024, ov2640_sxga_regs, 0x0C },
	[CAM_RES_UXGA] = { "UXGA", 1600, 1200, ov2640_uxga_out_regs, 0x0E },
};

enum camera_resolution camera_get_resolution(void)
{
	return current_res;
}

const char *camera_resolution_name(enum camera_resolution res)
{
	if (res >= CAM_RES_COUNT) {
		return "???";
	}
	return res_table[res].name;
}

void camera_resolution_size(enum camera_resolution res,
			    int *width, int *height)
{
	if (res >= CAM_RES_COUNT) {
		*width = 0;
		*height = 0;
		return;
	}
	*width = res_table[res].width;
	*height = res_table[res].height;
}

/** Apply JPEG clock + quality + AEC/AGC + brightness settings. */
static int camera_apply_jpeg_settings(const struct device *i2c,
				      uint8_t qs)
{
	int ret;

	/* JPEG clock: no doubler, pclk_div=8 */
	ret = ov2640_write_reg(i2c, BANK_SEL, BANK_SEL_SENSOR);
	if (ret < 0) { return ret; }
	ret = ov2640_write_reg(i2c, CLKRC, 0x00);
	if (ret < 0) { return ret; }
	ret = ov2640_write_reg(i2c, BANK_SEL, BANK_SEL_DSP);
	if (ret < 0) { return ret; }
	ret = ov2640_write_reg(i2c, R_DVP_SP, 0x08);
	if (ret < 0) { return ret; }

	/* JPEG quality */
	ret = ov2640_write_reg(i2c, BANK_SEL, BANK_SEL_DSP);
	if (ret < 0) { return ret; }
	ret = ov2640_write_reg(i2c, QS, qs);
	if (ret < 0) { return ret; }

	return 0;
}

/** Enable AEC/AGC and set brightness/contrast boost. */
static int camera_apply_exposure_settings(const struct device *i2c)
{
	int ret;

	/* Re-enable AEC/AGC with gain ceiling 32x */
	ret = ov2640_write_reg(i2c, BANK_SEL, BANK_SEL_SENSOR);
	if (ret < 0) { return ret; }
	ret = ov2640_write_reg(i2c, COM8,
		COM8_DEFAULT | COM8_BNDF_EN | COM8_AGC_EN | COM8_AEC_EN);
	if (ret < 0) { return ret; }
	ret = ov2640_write_reg(i2c, COM9, 0x08 | (0x04 << 4));
	if (ret < 0) { return ret; }

	/* DSP brightness/contrast boost */
	ret = ov2640_write_reg(i2c, BANK_SEL, BANK_SEL_DSP);
	if (ret < 0) { return ret; }
	ret = ov2640_write_reg(i2c, 0x9B, 0x20);
	if (ret < 0) { return ret; }
	ret = ov2640_write_reg(i2c, 0x9C, 0x28);
	if (ret < 0) { return ret; }

	return 0;
}

/** Log AEC/AGC diagnostic registers. */
static void camera_log_diagnostics(const struct device *i2c)
{
	uint8_t val;

	ov2640_write_reg(i2c, BANK_SEL, BANK_SEL_SENSOR);
	if (ov2640_read_reg(i2c, COM8, &val) == 0) {
		LOG_INF("COM8=0x%02x (AEC=%s AGC=%s)", val,
			(val & COM8_AEC_EN) ? "on" : "off",
			(val & COM8_AGC_EN) ? "on" : "off");
	}
	if (ov2640_read_reg(i2c, COM9, &val) == 0) {
		LOG_INF("COM9=0x%02x (gain_ceil=%dx)",
			val, 2 << ((val >> 4) & 0x07));
	}
	if (ov2640_read_reg(i2c, 0x00, &val) == 0) {
		LOG_INF("GAIN=0x%02x", val);
	}

	uint8_t aec_lo = 0, aec_hi = 0;

	ov2640_read_reg(i2c, 0x10, &aec_lo);
	ov2640_read_reg(i2c, 0x45, &aec_hi);
	LOG_INF("AEC=0x%02x AECH=0x%02x (exposure=%u)",
		aec_lo, aec_hi, ((uint16_t)aec_hi << 8) | aec_lo);

	/* Verify JPEG mode */
	uint8_t img_mode = 0;

	if (ov2640_write_reg(i2c, BANK_SEL, BANK_SEL_DSP) == 0 &&
	    ov2640_read_reg(i2c, IMAGE_MODE, &img_mode) == 0) {
		LOG_INF("IMAGE_MODE: 0x%02x (JPEG=%s)", img_mode,
			(img_mode & IMAGE_MODE_JPEG_EN) ? "ON" : "OFF");
	}
}

int camera_configure_jpeg_qvga(void)
{
	const struct device *i2c = camera_sccb_get_i2c();
	int ret;

	LOG_INF("Configuring OV2640 for JPEG QVGA (320x240)");

	/* Software reset */
	ret = ov2640_write_reg(i2c, BANK_SEL, BANK_SEL_SENSOR);
	if (ret < 0) { return ret; }
	ret = ov2640_write_reg(i2c, COM7, COM7_SRST);
	if (ret < 0) { return ret; }
	k_msleep(300);

	/* Default → UXGA sensor → QVGA output → JPEG */
	ret = ov2640_write_regs(i2c, ov2640_default_regs);
	if (ret < 0) { return ret; }
	k_msleep(10);

	ret = ov2640_write_regs(i2c, ov2640_uxga_regs);
	if (ret < 0) { return ret; }
	k_msleep(10);

	ret = ov2640_write_regs(i2c, ov2640_qvga_regs);
	if (ret < 0) { return ret; }
	k_msleep(10);

	ret = ov2640_write_regs(i2c, ov2640_jpeg_regs);
	if (ret < 0) { return ret; }
	k_msleep(30);

	/* JPEG clock + quality */
	ret = camera_apply_jpeg_settings(i2c, 0x04);
	if (ret < 0) { return ret; }

	/* AEC/AGC + brightness */
	ret = camera_apply_exposure_settings(i2c);
	if (ret < 0) { return ret; }

	camera_log_diagnostics(i2c);

	LOG_INF("OV2640 JPEG QVGA configured");
	return 0;
}

int camera_set_resolution(enum camera_resolution res)
{
	const struct device *i2c = camera_sccb_get_i2c();
	int ret;

	if (res >= CAM_RES_COUNT) {
		return -EINVAL;
	}

	const struct res_info *ri = &res_table[res];

	LOG_INF("Setting resolution to %s (%dx%d, QS=0x%02x)",
		ri->name, ri->width, ri->height, ri->qs);

	/* Write output window registers */
	ret = ov2640_write_regs(i2c, ri->regs);
	if (ret < 0) {
		LOG_ERR("Resolution regs write failed: %d", ret);
		return ret;
	}
	k_msleep(10);

	/* Re-apply JPEG mode */
	ret = ov2640_write_regs(i2c, ov2640_jpeg_regs);
	if (ret < 0) {
		LOG_ERR("JPEG regs write failed: %d", ret);
		return ret;
	}
	k_msleep(30);

	/* Clock + quality for this resolution */
	ret = camera_apply_jpeg_settings(i2c, ri->qs);
	if (ret < 0) { return ret; }

	current_res = res;
	LOG_INF("Resolution set to %s", ri->name);
	return 0;
}
```

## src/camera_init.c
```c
/*
 * Camera Init — Implementation
 *
 * Bootstrap the OV2640 camera on YD-ESP32-CAM:
 * 1. Generate XCLK via LEDC PWM on GPIO0 (~20MHz)
 * 2. De-assert PWDN on GPIO32 (active HIGH → set LOW)
 * 3. Probe OV2640 via I2C/SCCB: read PID and VER registers
 * 4. Configure OV2640 for JPEG QVGA (320x240) output
 *
 * SCCB I/O lives in camera_sccb.c; resolution config in camera_config.c.
 */

#include "camera_init.h"
#include "camera_sccb.h"
#include "ov2640_regs.h"

#include <zephyr/kernel.h>
#include <zephyr/device.h>
#include <zephyr/drivers/gpio.h>
#include <zephyr/drivers/pwm.h>
#include <zephyr/logging/log.h>

LOG_MODULE_REGISTER(cam_init, LOG_LEVEL_INF);

#define OV2640_PID_VAL   0x26
#define OV2640_VER_VAL   0x42

#define CAM_PWDN_NODE DT_NODELABEL(gpio1)
#define CAM_PWDN_PIN  0

#define XCLK_PWM_NODE DT_NODELABEL(ledc0)
#define XCLK_CHANNEL  0
#define XCLK_PERIOD_NS 50
#define XCLK_PULSE_NS 25

static bool cam_detected;

/* Declared in camera_config.c */
int camera_configure_jpeg_qvga(void);

static int camera_start_xclk(void)
{
	const struct device *pwm = DEVICE_DT_GET(XCLK_PWM_NODE);

	if (!device_is_ready(pwm)) {
		LOG_ERR("LEDC PWM device not ready");
		return -ENODEV;
	}

	int ret = pwm_set(pwm, XCLK_CHANNEL, XCLK_PERIOD_NS,
			  XCLK_PULSE_NS, 0);
	if (ret < 0) {
		LOG_ERR("Failed to start XCLK: %d", ret);
		return ret;
	}

	LOG_INF("XCLK started (20MHz on GPIO0)");
	return 0;
}

static int camera_pwdn_deassert(void)
{
	const struct device *gpio = DEVICE_DT_GET(CAM_PWDN_NODE);

	if (!device_is_ready(gpio)) {
		LOG_ERR("GPIO1 device not ready for PWDN");
		return -ENODEV;
	}

	int ret = gpio_pin_configure(gpio, CAM_PWDN_PIN,
				     GPIO_OUTPUT_INACTIVE);
	if (ret < 0) {
		LOG_ERR("Failed to configure PWDN GPIO: %d", ret);
		return ret;
	}

	gpio_pin_set(gpio, CAM_PWDN_PIN, 0);
	LOG_INF("Camera PWDN deasserted (GPIO32 LOW)");
	return 0;
}

static int camera_sccb_probe(void)
{
	const struct device *i2c = camera_sccb_get_i2c();
	uint8_t pid, ver;
	int ret;

	if (!device_is_ready(i2c)) {
		LOG_ERR("I2C0 device not ready");
		return -ENODEV;
	}

	ret = ov2640_write_reg(i2c, BANK_SEL, BANK_SEL_SENSOR);
	if (ret < 0) {
		LOG_ERR("SCCB bank select failed: %d", ret);
		return ret;
	}

	ret = ov2640_read_reg(i2c, 0x0A, &pid);
	if (ret < 0) {
		LOG_ERR("SCCB PID read failed: %d", ret);
		return ret;
	}

	ret = ov2640_read_reg(i2c, 0x0B, &ver);
	if (ret < 0) {
		LOG_ERR("SCCB VER read failed: %d", ret);
		return ret;
	}

	LOG_INF("OV2640 detected: PID=0x%02x, VER=0x%02x", pid, ver);

	if (pid != OV2640_PID_VAL || ver != OV2640_VER_VAL) {
		LOG_WRN("Unexpected sensor ID (expected PID=0x26, VER=0x42)");
		return -ENODEV;
	}

	return 0;
}

int camera_init(void)
{
	int ret;

	LOG_INF("Camera init: YD-ESP32-CAM (OV2640)");

	ret = camera_start_xclk();
	if (ret < 0) {
		return ret;
	}

	ret = camera_pwdn_deassert();
	if (ret < 0) {
		return ret;
	}

	k_msleep(100);

	ret = camera_sccb_probe();
	if (ret < 0) {
		LOG_ERR("Camera probe failed — check wiring/power");
		return ret;
	}

	cam_detected = true;

	ret = camera_configure_jpeg_qvga();
	if (ret < 0) {
		LOG_ERR("Camera JPEG config failed: %d", ret);
		return ret;
	}

	LOG_INF("Camera init complete (JPEG QVGA 320x240)");
	return 0;
}

bool camera_is_detected(void)
{
	return cam_detected;
}
```

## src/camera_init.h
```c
/*
 * Camera Init — Header
 *
 * OV2640 camera bootstrap: XCLK generation, PWDN control, SCCB probe.
 */

#ifndef CAMERA_INIT_H
#define CAMERA_INIT_H

#include <stdbool.h>

/** Supported camera resolutions */
enum camera_resolution {
	CAM_RES_QVGA = 0,  /* 320x240 */
	CAM_RES_VGA,        /* 640x480 */
	CAM_RES_SVGA,       /* 800x600 */
	CAM_RES_XGA,        /* 1024x768 */
	CAM_RES_SXGA,       /* 1280x1024 */
	CAM_RES_UXGA,       /* 1600x1200 */
	CAM_RES_COUNT
};

/**
 * Initialize camera hardware (XCLK, PWDN) and verify OV2640 SCCB.
 * Called from main after system init.
 * @return 0 on success, negative errno on failure.
 */
int camera_init(void);

/**
 * Check if camera was detected during init.
 * @return true if OV2640 was successfully detected.
 */
bool camera_is_detected(void);

/**
 * Change camera resolution at runtime.
 * Caller must ensure no stream/capture is active.
 * Invalidates JPEG header cache and forces a re-warmup.
 * @param res  Target resolution
 * @return 0 on success, negative errno on failure.
 */
int camera_set_resolution(enum camera_resolution res);

/**
 * Get the current camera resolution.
 */
enum camera_resolution camera_get_resolution(void);

/**
 * Get resolution name string (e.g. "QVGA", "VGA").
 */
const char *camera_resolution_name(enum camera_resolution res);

/**
 * Get resolution width and height.
 */
void camera_resolution_size(enum camera_resolution res,
			    int *width, int *height);

#endif /* CAMERA_INIT_H */
```

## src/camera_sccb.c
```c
/*
 * Camera SCCB — Implementation
 *
 * Low-level OV2640 I2C/SCCB register read/write transport.
 */

#include "camera_sccb.h"

#include <zephyr/drivers/i2c.h>
#include <zephyr/logging/log.h>

LOG_MODULE_REGISTER(cam_sccb, LOG_LEVEL_INF);

#define OV2640_I2C_ADDR  0x30
#define I2C_NODE         DT_NODELABEL(i2c0)

const struct device *camera_sccb_get_i2c(void)
{
	return DEVICE_DT_GET(I2C_NODE);
}

int ov2640_read_reg(const struct device *i2c, uint8_t reg, uint8_t *val)
{
	return i2c_reg_read_byte(i2c, OV2640_I2C_ADDR, reg, val);
}

int ov2640_write_reg(const struct device *i2c, uint8_t reg, uint8_t val)
{
	return i2c_reg_write_byte(i2c, OV2640_I2C_ADDR, reg, val);
}

int ov2640_write_regs(const struct device *i2c,
		      const struct ov2640_reg *regs)
{
	int ret;

	for (int i = 0; regs[i].addr || regs[i].value; i++) {
		ret = ov2640_write_reg(i2c, regs[i].addr, regs[i].value);
		if (ret < 0) {
			LOG_ERR("Reg write failed: addr=0x%02x "
				"val=0x%02x err=%d",
				regs[i].addr, regs[i].value, ret);
			return ret;
		}
	}
	return 0;
}
```

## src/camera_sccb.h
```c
/*
 * Camera SCCB — Header
 *
 * Low-level OV2640 I2C/SCCB register access.
 */

#ifndef CAMERA_SCCB_H
#define CAMERA_SCCB_H

#include <zephyr/device.h>
#include "ov2640_regs.h"

/** Get the I2C device used for OV2640 SCCB communication. */
const struct device *camera_sccb_get_i2c(void);

/** Read a single OV2640 register. */
int ov2640_read_reg(const struct device *i2c, uint8_t reg, uint8_t *val);

/** Write a single OV2640 register. */
int ov2640_write_reg(const struct device *i2c, uint8_t reg, uint8_t val);

/** Write an array of OV2640 registers (terminated by {0,0}). */
int ov2640_write_regs(const struct device *i2c,
		      const struct ov2640_reg *regs);

#endif /* CAMERA_SCCB_H */
```

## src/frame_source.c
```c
/*
 * Frame Source — Implementation
 *
 * Returns JPEG frames from the OV2640 camera via I2S capture.
 * Falls back to an embedded test pattern if camera is unavailable.
 */

#include "frame_source.h"
#include "cam_i2s_capture.h"
#include "test_pattern_jpg.h"

#include <zephyr/logging/log.h>

LOG_MODULE_REGISTER(frame_src, LOG_LEVEL_INF);

static bool camera_available;

int frame_source_init(void)
{
	/* Probe camera by capturing a test frame */
	const uint8_t *frame;
	size_t size;
	int ret = cam_i2s_capture_frame(&frame, &size);

	if (ret == 0 && size > 0) {
		camera_available = true;
		LOG_INF("Frame source: OV2640 camera (test frame %zu bytes)",
			size);
	} else {
		camera_available = false;
		LOG_INF("Frame source: test pattern (%u bytes, 160x120)",
			TEST_PATTERN_JPG_SIZE);
	}
	return 0;
}

int frame_source_get(const uint8_t **data, size_t *size)
{
	if (data == NULL || size == NULL) {
		return -EINVAL;
	}

	if (camera_available) {
		int ret = cam_i2s_capture_frame(data, size);

		if (ret == 0) {
			return 0;
		}
		LOG_WRN("Camera capture failed (%d), using test pattern", ret);
	}

	*data = test_pattern_jpg;
	*size = TEST_PATTERN_JPG_SIZE;
	return 0;
}
```
